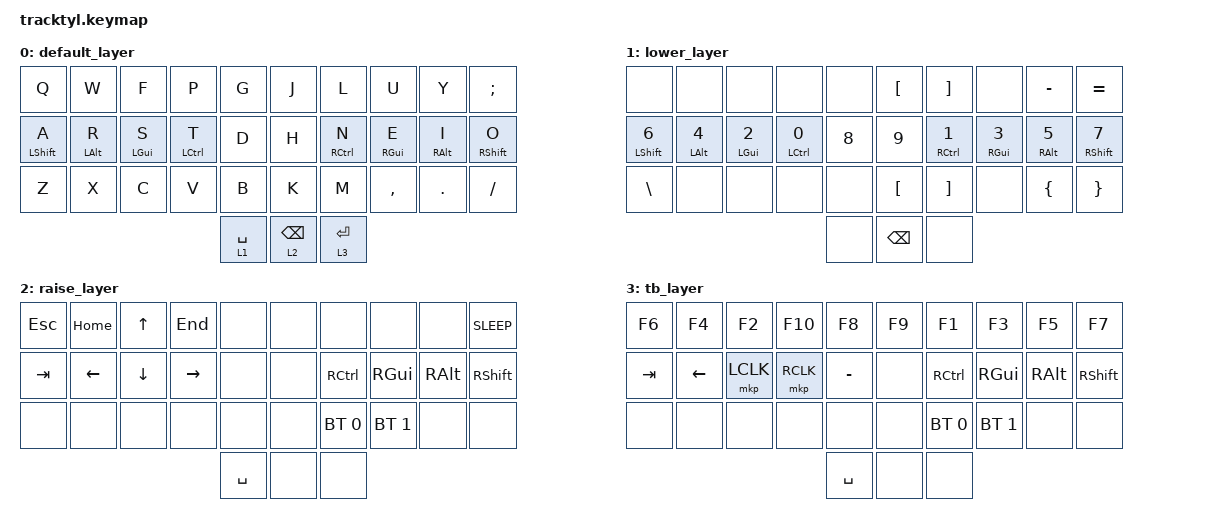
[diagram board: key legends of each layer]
/*
 * Copyright (c) 2020 The ZMK Contributors
 *
 * SPDX-License-Identifier: MIT
 */

#include <behaviors.dtsi>
#include <dt-bindings/zmk/keys.h>
#include <dt-bindings/zmk/bt.h>
#include <dt-bindings/zmk/outputs.h>
#include <dt-bindings/zmk/mouse.h>

/ { 
		behaviors {
			bhm: balanced_homerow_mods {
				compatible = "zmk,behavior-hold-tap";
				label = "HOMEROW_MODS";
				#binding-cells = <2>;
				tapping-term-ms = <200>;    // <---[[moderate duration]]
				quick-tap-ms = <0>;
				flavor = "balanced";
				bindings = <&kp>, <&kp>;
			};
		};


        keymap {
                compatible = "zmk,keymap";

                default_layer {
                        bindings = <
							&kp Q 			&kp W 			&kp F   			&kp P       	&kp G    			&kp J		&kp L       	&kp U    		&kp Y   	&kp SEMI
							&bhm LSHIFT A 	&bhm LALT R 	&bhm LGUI S 		&bhm LCTRL T 	&kp D    			&kp H 		&bhm RCTRL N    &bhm RGUI E 	&bhm RALT I &bhm RSHIFT O  
							&kp Z 			&kp X 			&kp C 				&kp V     		&kp B    			&kp K 		&kp M       	&kp CMMA 		&kp DOT 	&kp FSLH
																								&lt 1 SPACE    		&lt 2 BSPC  &lt 3 ENTER
                        >;
						trackball-bindings = <&tmv>;
                };
                lower_layer {
                        bindings = <
							&none			&none			&none			&none			&none						&kp LBKT 		&kp RBKT		&none			&kp MINUS 		&kp EQUAL
							&bhm LSHIFT N6	&bhm LALT N4    &bhm LGUI N2 	&bhm LCTRL N0  	&kp N8       				&kp N9      	&bhm RCTRL N1 	&bhm RGUI N3   	&bhm RALT N5	&bhm RSHIFT N7
							&kp BSLH        &none  			&none    		&none      		&none        				&kp LBKT 		&kp RBKT		&none       	&kp LBRC 		&kp RBRC
																							&none      					&kp BSPC		&none
                        >;
						trackball-bindings = <&tsl>;
                };

                raise_layer {
                        bindings = <
						   &kp ESC 			   	&kp HOME   		&kp UP   	&kp END    		&none 					    &none     		&none        &none       	&none      	&kp K_SLEEP
						   &kp TAB      		&kp LEFT   		&kp DOWN	&kp RIGHT  		&none   			    	&none	    	&kp RCTRL    &kp RGUI   	&kp RALT	&kp RSHIFT	 
						   &none	 			&none 	 		&none  		&none 			&none           			&none		 	&bt BT_SEL 0 &bt BT_SEL 1	&none 		&none
																							&kp SPACE     				&none		 	&none
						>;
						trackball-bindings = <&tsl>;
                };
				
				tb_layer {
                        bindings = <
						   &kp F6 			&kp F4 			&kp F2 			&kp F10 		&kp F8     					&kp F9 			&kp F1 			&kp  F3		&kp F5 		&kp F7
						   &kp TAB      		&kp LEFT   		&mkp LCLK	&mkp RCLK 		&kp MINUS   		    	&none	    	&kp RCTRL     	&kp RGUI   	&kp RALT	&kp RSHIFT	 
						   &none	 			&none 	 		&none  		&none 			&none           			&none		 	&bt BT_SEL 0 &bt BT_SEL 1	&none 		&none
																							&kp SPACE     				&none		 	&none
						>;
						trackball-bindings = <&tkp BSPC DELETE LC(MINUS) LC(PLUS)>;
                };
        };
};

